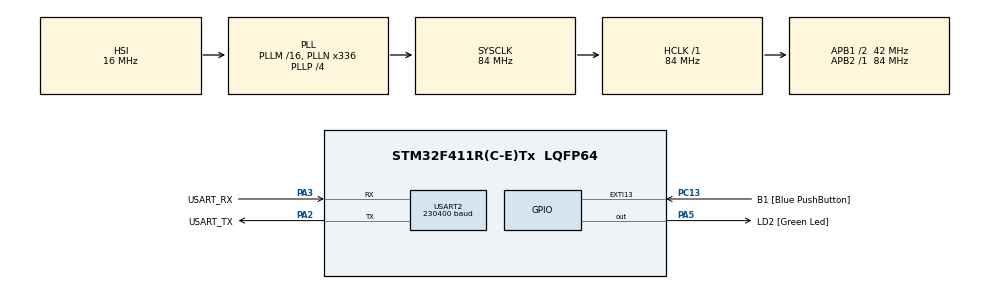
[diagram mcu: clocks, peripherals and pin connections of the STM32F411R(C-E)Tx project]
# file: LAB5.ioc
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Mcu.Family=STM32F4
Mcu.Name=STM32F411R(C-E)Tx
Mcu.Package=LQFP64
NVIC.PriorityGroup=NVIC_PRIORITYGROUP_0
NVIC.USART2_IRQn=true\:0\:0\:false\:false\:true\:true\:true\:true
PA13.GPIO_Label=TMS
PA13.Mode=Serial_Wire
PA13.Signal=SYS_JTMS-SWDIO
PA14.GPIO_Label=TCK
PA14.Mode=Serial_Wire
PA14.Signal=SYS_JTCK-SWCLK
PA2.GPIO_Label=USART_TX
PA2.Mode=Asynchronous
PA2.Signal=USART2_TX
PA3.GPIO_Label=USART_RX
PA3.Mode=Asynchronous
PA3.Signal=USART2_RX
PA5.GPIO_Label=LD2 [Green Led]
PA5.Signal=GPIO_Output
PB3.GPIO_Label=SWO
PB3.Signal=SYS_JTDO-SWO
PC13-ANTI_TAMP.GPIO_Label=B1 [Blue PushButton]
PC13-ANTI_TAMP.GPIO_ModeDefaultEXTI=GPIO_MODE_IT_FALLING
PC13-ANTI_TAMP.Signal=GPXTI13
PC14-OSC32_IN.Mode=LSE-External-Oscillator
PC14-OSC32_IN.Signal=RCC_OSC32_IN
PC15-OSC32_OUT.Mode=LSE-External-Oscillator
PC15-OSC32_OUT.Signal=RCC_OSC32_OUT
PH0\ -\ OSC_IN.Mode=HSE-External-Clock-Source
PH0\ -\ OSC_IN.Signal=RCC_OSC_IN
PH1\ -\ OSC_OUT.Mode=HSE-External-Clock-Source
PH1\ -\ OSC_OUT.Signal=RCC_OSC_OUT
ProjectManager.HeapSize=0x200
ProjectManager.StackSize=0x400
ProjectManager.TargetToolchain=STM32CubeIDE
RCC.48MHZClocksFreq_Value=84000000
RCC.AHBFreq_Value=84000000
RCC.APB1CLKDivider=RCC_HCLK_DIV2
RCC.APB1Freq_Value=42000000
RCC.APB1TimFreq_Value=84000000
RCC.APB2Freq_Value=84000000
RCC.APB2TimFreq_Value=84000000
RCC.CortexFreq_Value=84000000
RCC.FLatency-AdvancedSettings=FLASH_LATENCY_2
RCC.HCLKFreq_Value=84000000
RCC.HSE_VALUE=8000000
RCC.HSI_VALUE=16000000
RCC.PLLN=336
RCC.PLLP=RCC_PLLP_DIV4
RCC.SYSCLKFreq_VALUE=84000000
RCC.SYSCLKSource=RCC_SYSCLKSOURCE_PLLCLK
RCC.VCOOutputFreq_Value=336000000
USART2.BaudRate=230400
USART2.VirtualMode=VM_ASYNC
board=NUCLEO-F411RE

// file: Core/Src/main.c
/* USER CODE BEGIN Header */
/**
  ******************************************************************************
  * @file           : main.c
  * @brief          : Main program body
  ******************************************************************************
  * @attention
  *
  * Copyright (c) 2023 STMicroelectronics.
  * All rights reserved.
  *
  * This software is licensed under terms that can be found in the LICENSE file
  * in the root directory of this software component.
  * If no LICENSE file comes with this software, it is provided AS-IS.
  *
  ******************************************************************************
  */
/* USER CODE END Header */
#include "main.h"

/* USER CODE BEGIN Includes */
#include "stdio.h"
#include "string.h"
/* USER CODE END Includes */

UART_HandleTypeDef huart2;

/* USER CODE BEGIN PV */
//papoplnwza
uint8_t RxBuffer[5];
uint8_t TxBuffer[40];
uint8_t st = 0, Blink_st = 1;
uint8_t Button = 0, Button_L = 0;
uint8_t CLK_F = 0, B_F = 0, Hz_F = 0;
uint8_t text1[] = "\nMENU\r\n"
		"Please Select Mode :\r\n"
		"0 = LED Control\r\n"
		"1 = Button Status\r\n";
uint8_t text2[] = "\n\nLED Control Mode\r\n"
		"Please Select\r\n"
		"a = Speed up\r\n"
		"s = Speed down\r\n"
		"d = On/Off\r\n"
		"x = Back\r\n";
uint8_t text3[] = "\n\nButton Status Mode\r\n"
		"x = Back\r\n";
uint8_t text4[10];
uint32_t Hz = 1, Stamp = 500;
/* USER CODE END PV */

void SystemClock_Config(void);
static void MX_GPIO_Init(void);
static void MX_USART2_UART_Init(void);
/* USER CODE BEGIN PFP */
void UARTInterruptConfig();
void Blink();
/* USER CODE END PFP */

int main(void)
{

  /* MCU Configuration--------------------------------------------------------*/

  /* Reset of all peripherals, Initializes the Flash interface and the Systick. */
  HAL_Init();

  /* Configure the system clock */
  SystemClock_Config();

  /* Initialize all configured peripherals */
  MX_GPIO_Init();
  MX_USART2_UART_Init();
  /* USER CODE BEGIN 2 */

  UARTInterruptConfig();
  HAL_UART_Transmit_IT(&huart2, text1, strlen((char*)text1));
  /* USER CODE END 2 */

  /* Infinite loop */
  /* USER CODE BEGIN WHILE */
  while (1)
  {
	  Blink();
	  Button = HAL_GPIO_ReadPin(GPIOC, GPIO_PIN_13);
	  if (Button != Button_L) {
	  			B_F = 1;
	  		} else {
	  			B_F = 0;
	  		}
	  Button_L = Button;
		switch (st) {
		case (0):
			if (CLK_F == 1) {
				if (RxBuffer[0] == 48) {
					HAL_UART_Transmit_IT(&huart2, text2, strlen((char*)text2));
					CLK_F = 0;
					st = 1;
				} else if (RxBuffer[0] == 49) {
					HAL_UART_Transmit_IT(&huart2, text3, strlen((char*)text3));
					CLK_F = 0;
					st = 2;
				} else {
					HAL_UART_Transmit(&huart2, "Error\r\n", 7,10);
					HAL_UART_Transmit_IT(&huart2, text1, strlen((char*)text1));
					CLK_F = 0;
					st = 0;
				}
			}
			break;
		case (1):
			if (CLK_F == 1) {
				if (RxBuffer[0] == 97) {
					CLK_F = 0;
					Hz += 1;
					HAL_UART_Transmit(&huart2, "Speed +1\r\n", 10,10);
					sprintf((char*)text4,"Hz = %d\r\n",Hz);
					HAL_UART_Transmit_IT(&huart2, text4, strlen((char*)text4));
					st = 1;
				} else if (RxBuffer[0] == 115) {
					CLK_F = 0;
					Hz -= 1;
					HAL_UART_Transmit(&huart2, "Speed -1\r\n", 10,10);
					sprintf((char*)text4,"Hz = %d\r\n",Hz);
					HAL_UART_Transmit_IT(&huart2, text4, strlen((char*)text4));
					st = 1;
				} else if (RxBuffer[0] == 100) {
					if (Blink_st == 1) {
						Blink_st = 0;
						HAL_UART_Transmit_IT(&huart2, "Off\r\n", 5);
					} else if (Blink_st == 0) {
						HAL_UART_Transmit_IT(&huart2, "On\r\n", 4);
						Blink_st = 1;
					}
					CLK_F = 0;
//					Blink_st = !Blink_st;
					st = 1;
				}else if (RxBuffer[0] == 120) {
					HAL_UART_Transmit_IT(&huart2, text1, strlen((char*)text1));
					CLK_F = 0;
					st = 0;
				}
				else {
					HAL_UART_Transmit(&huart2, "Error\r\n", 7,10);
					HAL_UART_Transmit_IT(&huart2, text2, strlen((char*)text2));
					CLK_F = 0;
					st = 1;
				}
			}
			break;
		case (2):
			if (CLK_F == 1) {
				if (RxBuffer[0] == 120) {
					HAL_UART_Transmit_IT(&huart2, text1, strlen((char*)text1));
					CLK_F = 0;
					st = 0;
				} else {
					HAL_UART_Transmit(&huart2, "Error\r\n", 7,10);
					HAL_UART_Transmit_IT(&huart2, text3, strlen((char*)text3));
					CLK_F = 0;
					st = 2;
				}
			}
			if (CLK_F == 0 && B_F == 1) {
				if(HAL_GPIO_ReadPin(GPIOC, GPIO_PIN_13) == 0){
					HAL_UART_Transmit(&huart2, "Press\r\nx = Back\r\n\n", 19,10);

				}
				if(HAL_GPIO_ReadPin(GPIOC, GPIO_PIN_13) == 1){
					HAL_UART_Transmit(&huart2, "Release\r\nx = Back\r\n\n", 21,10);
				}
			}
			break;
		}
    /* USER CODE END WHILE */

  }
}

void SystemClock_Config(void)
{
  RCC_OscInitTypeDef RCC_OscInitStruct = {0};
  RCC_ClkInitTypeDef RCC_ClkInitStruct = {0};

  /** Configure the main internal regulator output voltage
  */
  __HAL_RCC_PWR_CLK_ENABLE();
  __HAL_PWR_VOLTAGESCALING_CONFIG(PWR_REGULATOR_VOLTAGE_SCALE1);

  /** Initializes the RCC Oscillators according to the specified parameters
  * in the RCC_OscInitTypeDef structure.
  */
  RCC_OscInitStruct.OscillatorType = RCC_OSCILLATORTYPE_HSI;
  RCC_OscInitStruct.HSIState = RCC_HSI_ON;
  RCC_OscInitStruct.HSICalibrationValue = RCC_HSICALIBRATION_DEFAULT;
  RCC_OscInitStruct.PLL.PLLState = RCC_PLL_ON;
  RCC_OscInitStruct.PLL.PLLSource = RCC_PLLSOURCE_HSI;
  RCC_OscInitStruct.PLL.PLLM = 16;
  RCC_OscInitStruct.PLL.PLLN = 336;
  RCC_OscInitStruct.PLL.PLLP = RCC_PLLP_DIV4;
  RCC_OscInitStruct.PLL.PLLQ = 4;
  if (HAL_RCC_OscConfig(&RCC_OscInitStruct) != HAL_OK)
  {
    Error_Handler();
  }

  /** Initializes the CPU, AHB and APB buses clocks
  */
  RCC_ClkInitStruct.ClockType = RCC_CLOCKTYPE_HCLK|RCC_CLOCKTYPE_SYSCLK
                              |RCC_CLOCKTYPE_PCLK1|RCC_CLOCKTYPE_PCLK2;
  RCC_ClkInitStruct.SYSCLKSource = RCC_SYSCLKSOURCE_PLLCLK;
  RCC_ClkInitStruct.AHBCLKDivider = RCC_SYSCLK_DIV1;
  RCC_ClkInitStruct.APB1CLKDivider = RCC_HCLK_DIV2;
  RCC_ClkInitStruct.APB2CLKDivider = RCC_HCLK_DIV1;

  if (HAL_RCC_ClockConfig(&RCC_ClkInitStruct, FLASH_LATENCY_2) != HAL_OK)
  {
    Error_Handler();
  }
}

static void MX_USART2_UART_Init(void)
{

  huart2.Instance = USART2;
  huart2.Init.BaudRate = 230400;
  huart2.Init.WordLength = UART_WORDLENGTH_8B;
  huart2.Init.StopBits = UART_STOPBITS_1;
  huart2.Init.Parity = UART_PARITY_NONE;
  huart2.Init.Mode = UART_MODE_TX_RX;
  huart2.Init.HwFlowCtl = UART_HWCONTROL_NONE;
  huart2.Init.OverSampling = UART_OVERSAMPLING_16;
  if (HAL_UART_Init(&huart2) != HAL_OK)
  {
    Error_Handler();
  }

}

static void MX_GPIO_Init(void)
{
  GPIO_InitTypeDef GPIO_InitStruct = {0};

  /* GPIO Ports Clock Enable */
  __HAL_RCC_GPIOC_CLK_ENABLE();
  __HAL_RCC_GPIOH_CLK_ENABLE();
  __HAL_RCC_GPIOA_CLK_ENABLE();
  __HAL_RCC_GPIOB_CLK_ENABLE();

  /*Configure GPIO pin Output Level */
  HAL_GPIO_WritePin(LD2_GPIO_Port, LD2_Pin, GPIO_PIN_RESET);

  /*Configure GPIO pin : B1_Pin */
  GPIO_InitStruct.Pin = B1_Pin;
  GPIO_InitStruct.Mode = GPIO_MODE_IT_FALLING;
  GPIO_InitStruct.Pull = GPIO_NOPULL;
  HAL_GPIO_Init(B1_GPIO_Port, &GPIO_InitStruct);

  /*Configure GPIO pin : LD2_Pin */
  GPIO_InitStruct.Pin = LD2_Pin;
  GPIO_InitStruct.Mode = GPIO_MODE_OUTPUT_PP;
  GPIO_InitStruct.Pull = GPIO_NOPULL;
  GPIO_InitStruct.Speed = GPIO_SPEED_FREQ_LOW;
  HAL_GPIO_Init(LD2_GPIO_Port, &GPIO_InitStruct);

}

/* USER CODE BEGIN 4 */
void Blink(){
	if (Blink_st == 1) {
		if (Hz < 1) {
			Hz_F = 1;
		} else {
			Stamp = 500 / Hz;
		}
		static uint32_t timestamp = 0;
		if ((HAL_GetTick() >= timestamp)) {
			if (Hz_F == 0) {
				timestamp = HAL_GetTick() + Stamp;
				HAL_GPIO_TogglePin(LD2_GPIO_Port, LD2_Pin);
			} else {
				timestamp = HAL_GetTick() + 1;
				Hz_F = 0;
			}
		}
	}
	if (Blink_st == 0){
		HAL_GPIO_WritePin(LD2_GPIO_Port, LD2_Pin, 0);
	}
}
void UARTInterruptConfig(){
	HAL_UART_Receive_IT(&huart2, RxBuffer, 1);
}
void HAL_UART_RxCpltCallback(UART_HandleTypeDef *huart){
	if(huart == &huart2){
		CLK_F = 1;
		RxBuffer[10] = '\0';
		sprintf((char*)TxBuffer,"\nReceived : %s\r\n",RxBuffer);
		HAL_UART_Transmit(&huart2, TxBuffer, strlen((char*)TxBuffer),10);

		HAL_UART_Receive_IT(&huart2, RxBuffer, 1);
	}
}
/* USER CODE END 4 */

void Error_Handler(void)
{
  __disable_irq();
  while (1)
  {
  }
}
